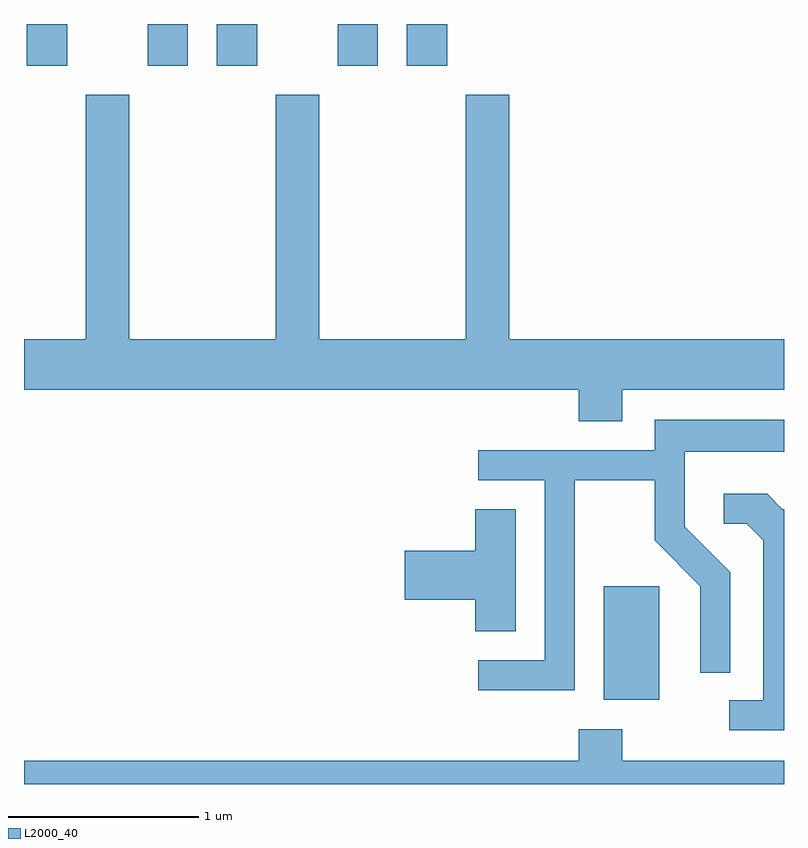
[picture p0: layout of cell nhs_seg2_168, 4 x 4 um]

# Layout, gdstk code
import gdstk
lib = gdstk.Library(unit=1e-6, precision=1e-09)
def R(c, l, rs):  # rectangles x0, y0, x1, y1
    for r in rs: c.add(gdstk.rectangle(r[:2], r[2:], *l))
def P(c, l, *ps):  # polygons
    for p in ps: c.add(gdstk.Polygon(p, *l))
L2000_40 = (2000, 40)

nhs_seg2_168 = lib.new_cell('nhs_seg2_168')
R(nhs_seg2_168, L2000_40, [(192.661,1042.246,192.954,1042.844), (189.626,1045.581,189.839,1045.802), (190.261,1045.581,190.474,1045.802), (190.626,1045.581,190.839,1045.802), (191.261,1045.581,191.474,1045.802), (191.626,1045.581,191.839,1045.802)])
P(nhs_seg2_168, L2000_40, [(192.759,1043.876),(193.611,1043.876),(193.611,1044.144),(192.164,1044.144),(192.164,1045.429),(191.936,1045.429),(191.936,1044.144),(191.164,1044.144),(191.164,1045.429),(190.936,1045.429),(190.936,1044.144),(190.164,1044.144),(190.164,1045.429),(189.936,1045.429),(189.936,1044.144),(189.611,1044.144),(189.611,1043.876),(192.531,1043.876),(192.531,1043.711),(192.759,1043.711)],
  [(192.509,1043.401),(192.931,1043.401),(192.931,1043.084),(193.171,1042.844),(193.171,1042.388),(193.329,1042.388),(193.329,1042.917),(193.089,1043.157),(193.089,1043.551),(193.611,1043.551),(193.611,1043.719),(192.931,1043.719),(192.931,1043.559),(192.003,1043.559),(192.003,1043.401),(192.351,1043.401),(192.351,1042.454),(192.003,1042.454),(192.003,1042.296),(192.509,1042.296)],
  [(193.611,1043.249),(193.602,1043.249),(193.522,1043.329),(193.293,1043.329),(193.293,1043.171),(193.414,1043.171),(193.501,1043.084),(193.501,1042.244),(193.323,1042.244),(193.323,1042.086),(193.611,1042.086)],
  [(192.199,1043.249),(191.986,1043.249),(191.986,1043.029),(191.616,1043.029),(191.616,1042.771),(191.986,1042.771),(191.986,1042.606),(192.199,1042.606)],
  [(193.611,1041.924),(192.759,1041.924),(192.759,1042.089),(192.531,1042.089),(192.531,1041.924),(189.611,1041.924),(189.611,1041.802),(193.611,1041.802)])

lib.write_gds('nhs_seg2_168.gds')
